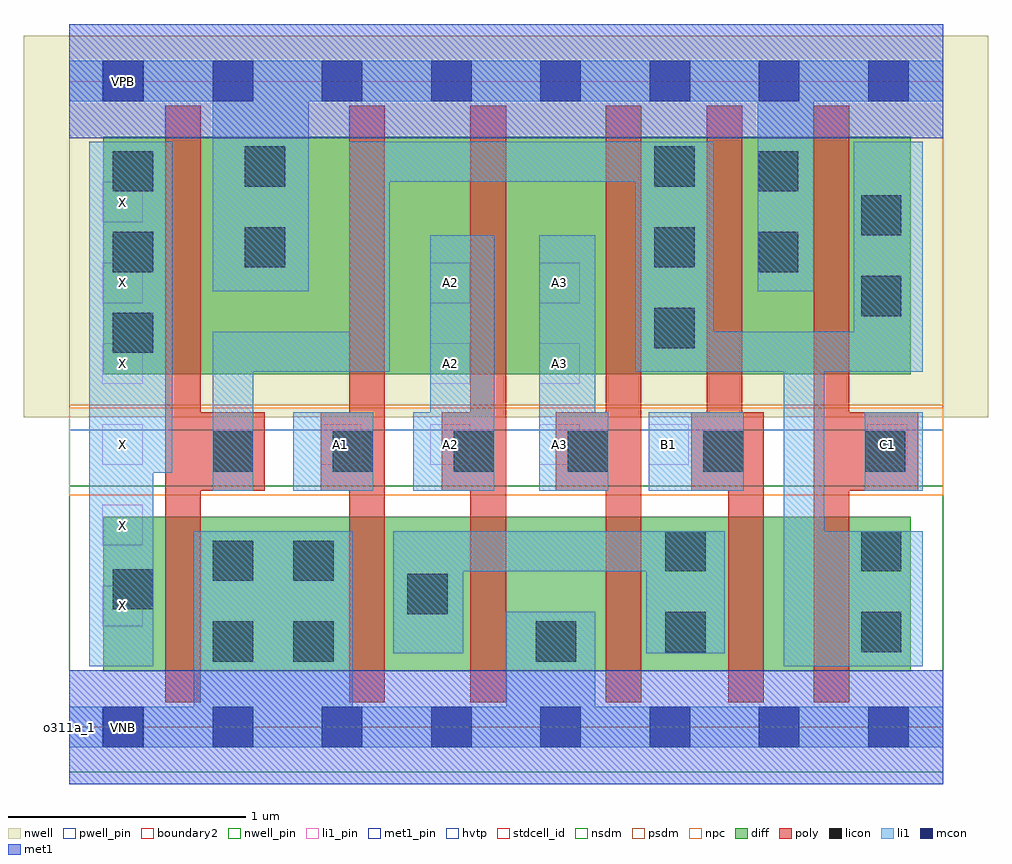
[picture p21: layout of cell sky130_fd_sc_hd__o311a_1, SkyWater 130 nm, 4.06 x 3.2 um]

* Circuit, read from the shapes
.subckt sky130_fd_sc_hd__o311a_1 A1 A2 A3 B1 C1 VGND VNB VPB VPWR X
XM1 VGND n1 X VNB sky130_fd_pr__nfet_01v8 w=0.65 l=0.15
XM2 n2 A1 VGND VNB sky130_fd_pr__nfet_01v8 w=0.65 l=0.15
XM3 VGND A2 n2 VNB sky130_fd_pr__nfet_01v8 w=0.65 l=0.15
XM4 n2 A3 VGND VNB sky130_fd_pr__nfet_01v8 w=0.65 l=0.15
XM5 n3 B1 n2 VNB sky130_fd_pr__nfet_01v8 w=0.65 l=0.15
XM6 n1 C1 n3 VNB sky130_fd_pr__nfet_01v8 w=0.65 l=0.15
XM7 VPWR n1 X VPB sky130_fd_pr__pfet_01v8_hvt w=1 l=0.15
XM8 n4 A1 VPWR VPB sky130_fd_pr__pfet_01v8_hvt w=1 l=0.15
XM9 n5 A2 n4 VPB sky130_fd_pr__pfet_01v8_hvt w=1 l=0.15
XM10 n1 A3 n5 VPB sky130_fd_pr__pfet_01v8_hvt w=1 l=0.15
XM11 VPWR B1 n1 VPB sky130_fd_pr__pfet_01v8_hvt w=1 l=0.15
XM12 n1 C1 VPWR VPB sky130_fd_pr__pfet_01v8_hvt w=1 l=0.15
.ends

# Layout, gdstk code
import gdstk
lib = gdstk.Library(unit=1e-6, precision=1e-09)
def R(c, l, rs):  # rectangles x0, y0, x1, y1
    for r in rs: c.add(gdstk.rectangle(r[:2], r[2:], *l))
def A(c, l, x, y, w, h, nx, ny, dx, dy):  # array of equal rectangles
    R(c, l, [(x+i*dx, y+j*dy, x+i*dx+w, y+j*dy+h) for i in range(nx) for j in range(ny)])
def P(c, l, *ps):  # polygons
    for p in ps: c.add(gdstk.Polygon(p, *l))
nwell_pin = (64, 16)
nwell = (64, 20)
diff = (65, 20)
poly = (66, 20)
licon = (66, 44)
li1_pin = (67, 16)
li1 = (67, 20)
mcon = (67, 44)
met1_pin = (68, 16)
met1 = (68, 20)
hvtp = (78, 44)
stdcell_id = (81, 4)
nsdm = (93, 44)
psdm = (94, 20)
npc = (95, 20)
pwell_pin = (122, 16)
boundary2 = (236, 0)

sky130_fd_sc_hd__o311a_1 = lib.new_cell('sky130_fd_sc_hd__o311a_1')
R(sky130_fd_sc_hd__o311a_1, nwell_pin, [(0.14,2.635,0.31,2.805)])
R(sky130_fd_sc_hd__o311a_1, nwell, [(-0.19,1.305,3.87,2.91)])
R(sky130_fd_sc_hd__o311a_1, diff, [(0.145,0.235,3.545,0.885), (0.145,1.485,3.545,2.485)])
P(sky130_fd_sc_hd__o311a_1, poly, [(1.33,2.615),(1.18,2.615),(1.18,1.325),(1.06,1.325),(1.06,0.995),(1.18,0.995),(1.18,0.105),(1.33,0.105)],
  [(1.84,2.615),(1.69,2.615),(1.69,1.325),(1.57,1.325),(1.57,0.995),(1.69,0.995),(1.69,0.105),(1.84,0.105)],
  [(2.41,2.615),(2.26,2.615),(2.26,1.325),(2.05,1.325),(2.05,0.995),(2.26,0.995),(2.26,0.105),(2.41,0.105)],
  [(2.925,1.325),(2.835,1.325),(2.835,2.615),(2.685,2.615),(2.685,1.325),(2.62,1.325),(2.62,0.995),(2.775,0.995),(2.775,0.105),(2.925,0.105)],
  [(3.575,1.325),(3.285,1.325),(3.285,2.615),(3.135,2.615),(3.135,0.105),(3.285,0.105),(3.285,0.995),(3.575,0.995)],
  [(0.825,1.325),(0.555,1.325),(0.555,2.615),(0.405,2.615),(0.405,0.105),(0.555,0.105),(0.555,0.995),(0.825,0.995)])
A(sky130_fd_sc_hd__o311a_1, licon, 0.185, 1.575, 0.17, 0.17, 1, 3, 0, 0.34)
A(sky130_fd_sc_hd__o311a_1, licon, 2.465, 1.595, 0.17, 0.17, 1, 3, 0, 0.34)
R(sky130_fd_sc_hd__o311a_1, licon, [(0.605,0.275,0.775,0.445), (0.945,0.275,1.115,0.445), (1.965,0.275,2.135,0.445), (2.51,0.315,2.68,0.485), (3.335,0.315,3.505,0.485), (1.425,0.475,1.595,0.645), (0.185,0.495,0.355,0.665), (0.605,0.615,0.775,0.785), (0.945,0.615,1.115,0.785), (2.51,0.655,2.68,0.825), (3.335,0.655,3.505,0.825), (0.605,1.075,0.775,1.245), (1.11,1.075,1.28,1.245), (1.62,1.075,1.79,1.245), (2.1,1.075,2.27,1.245), (2.67,1.075,2.84,1.245), (3.35,1.075,3.52,1.245), (3.335,1.73,3.505,1.9), (2.9,1.915,3.07,2.085), (0.74,1.935,0.91,2.105), (3.335,2.07,3.505,2.24), (2.9,2.255,3.07,2.425), (0.74,2.275,0.91,2.445)])
A(sky130_fd_sc_hd__o311a_1, li1_pin, 0.14, 0.425, 0.17, 0.17, 1, 6, 0, 0.34)
A(sky130_fd_sc_hd__o311a_1, li1_pin, 1.06, 1.105, 0.17, 0.17, 4, 1, 0.46, 0)
R(sky130_fd_sc_hd__o311a_1, li1_pin, [(3.36,1.105,3.53,1.275), (1.52,1.445,1.69,1.615), (1.98,1.445,2.15,1.615), (1.52,1.785,1.69,1.955), (1.98,1.785,2.15,1.955)])
R(sky130_fd_sc_hd__o311a_1, li1, [(0.945,0.995,1.28,1.325), (2.44,0.995,2.84,1.325), (3.35,0.995,3.595,1.325)])
P(sky130_fd_sc_hd__o311a_1, li1, [(2.27,1.325),(2.215,1.325),(2.215,2.07),(1.98,2.07),(1.98,0.995),(2.27,0.995)],
  [(0.435,2.465),(0.085,2.465),(0.085,0.255),(0.355,0.255),(0.355,1.07),(0.435,1.07)],
  [(1.79,2.07),(1.52,2.07),(1.52,1.325),(1.45,1.325),(1.45,0.995),(1.79,0.995)],
  [(2.76,0.825),(1.365,0.825),(1.365,0.31),(1.66,0.31),(1.66,0.655),(2.43,0.655),(2.43,0.31),(2.76,0.31)],
  [(3.68,0.085),(2.215,0.085),(2.215,0.485),(1.84,0.485),(1.84,0.085),(1.195,0.085),(1.195,0.825),(0.525,0.825),(0.525,0.085),(0,0.085),(0,-0.085),(3.68,-0.085)],
  [(3.595,0.825),(3.18,0.825),(3.18,1.495),(3.595,1.495),(3.595,2.465),(3.305,2.465),(3.305,1.665),(2.715,1.665),(2.715,2.465),(1.18,2.465),(1.18,1.665),(0.605,1.665),(0.605,0.995),(0.775,0.995),(0.775,1.495),(1.35,1.495),(1.35,2.295),(2.385,2.295),(2.385,1.495),(3.01,1.495),(3.01,0.255),(3.595,0.255)],
  [(3.68,2.805),(0,2.805),(0,2.635),(0.605,2.635),(0.605,1.835),(1.01,1.835),(1.01,2.635),(2.9,2.635),(2.9,1.835),(3.135,1.835),(3.135,2.635),(3.68,2.635)])
A(sky130_fd_sc_hd__o311a_1, mcon, 0.145, -0.085, 0.17, 0.17, 8, 2, 0.46, 2.72)
R(sky130_fd_sc_hd__o311a_1, met1_pin, [(0.14,-0.085,0.31,0.085), (0.14,2.635,0.31,2.805)])
R(sky130_fd_sc_hd__o311a_1, hvtp, [(0,1.25,3.68,2.72)])
R(sky130_fd_sc_hd__o311a_1, stdcell_id, [(0,0,3.68,2.72)])
R(sky130_fd_sc_hd__o311a_1, nsdm, [(0,-0.19,3.68,1.015)])
R(sky130_fd_sc_hd__o311a_1, psdm, [(0,1.355,3.68,2.91)])
R(sky130_fd_sc_hd__o311a_1, npc, [(0,0.975,3.68,1.345)])
R(sky130_fd_sc_hd__o311a_1, pwell_pin, [(0.14,-0.085,0.31,0.085)])
R(sky130_fd_sc_hd__o311a_1, boundary2, [(0,0,3.68,2.72)])
sky130_fd_sc_hd__o311a_1.add(gdstk.FlexPath([(0,0),(3.68,0)], 0.48, ends="flush", simple_path=True, layer=68, datatype=20))  # met1
sky130_fd_sc_hd__o311a_1.add(gdstk.FlexPath([(0,2.72),(3.68,2.72)], 0.48, ends="flush", simple_path=True, layer=68, datatype=20))  # met1
sky130_fd_sc_hd__o311a_1.add(gdstk.Label('X', (0.225,1.19), layer=67, texttype=5))
sky130_fd_sc_hd__o311a_1.add(gdstk.Label('A1', (1.145,1.19), layer=67, texttype=5))
sky130_fd_sc_hd__o311a_1.add(gdstk.Label('A2', (1.605,1.19), layer=67, texttype=5))
sky130_fd_sc_hd__o311a_1.add(gdstk.Label('A3', (2.065,1.19), layer=67, texttype=5))
sky130_fd_sc_hd__o311a_1.add(gdstk.Label('B1', (2.525,1.19), layer=67, texttype=5))
sky130_fd_sc_hd__o311a_1.add(gdstk.Label('C1', (3.445,1.19), layer=67, texttype=5))
sky130_fd_sc_hd__o311a_1.add(gdstk.Label('X', (0.225,1.53), layer=67, texttype=5))
sky130_fd_sc_hd__o311a_1.add(gdstk.Label('X', (0.225,1.87), layer=67, texttype=5))
sky130_fd_sc_hd__o311a_1.add(gdstk.Label('X', (0.225,2.21), layer=67, texttype=5))
sky130_fd_sc_hd__o311a_1.add(gdstk.Label('X', (0.225,0.85), layer=67, texttype=5))
sky130_fd_sc_hd__o311a_1.add(gdstk.Label('X', (0.225,0.51), layer=67, texttype=5))
sky130_fd_sc_hd__o311a_1.add(gdstk.Label('A2', (1.605,1.53), layer=67, texttype=5))
sky130_fd_sc_hd__o311a_1.add(gdstk.Label('A3', (2.065,1.53), layer=67, texttype=5))
sky130_fd_sc_hd__o311a_1.add(gdstk.Label('A3', (2.065,1.87), layer=67, texttype=5))
sky130_fd_sc_hd__o311a_1.add(gdstk.Label('A2', (1.605,1.87), layer=67, texttype=5))
sky130_fd_sc_hd__o311a_1.add(gdstk.Label('VPB', (0.23,2.72), layer=64, texttype=5))
sky130_fd_sc_hd__o311a_1.add(gdstk.Label('VNB', (0.23,0), layer=64, texttype=59))
sky130_fd_sc_hd__o311a_1.add(gdstk.Label('VGND', (0.23,0), layer=68, texttype=5))
sky130_fd_sc_hd__o311a_1.add(gdstk.Label('VPWR', (0.23,2.72), layer=68, texttype=5))
sky130_fd_sc_hd__o311a_1.add(gdstk.Label('o311a_1', (0,0), layer=83, texttype=44))

lib.write_gds('sky130_fd_sc_hd__o311a_1.gds')
